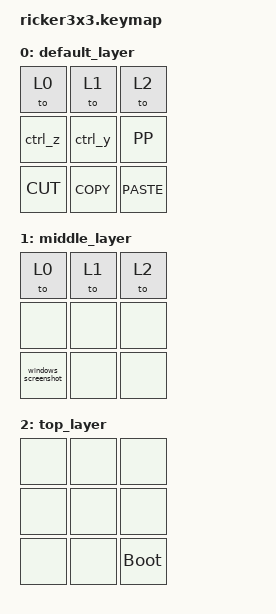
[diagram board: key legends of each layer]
#include <behaviors.dtsi>
#include <dt-bindings/zmk/keys.h>

/ {
    macros {
        windows_screenshot: windows_screenshot {
            label = "ZM_windows_screenshot";
            compatible = "zmk,behavior-macro";
            #binding-cells = <0>;
            bindings
                = <&macro_press &kp LSHFT>
                , <&macro_press &kp LGUI>
                , <&macro_press &kp S>
                , <&macro_release &kp LSHFT>
                , <&macro_release &kp LGUI>
                , <&macro_release &kp S>
                ;
        };

        ctrl_z: ctrl_z {
            label = "ZM_ctrl_z";
            compatible = "zmk,behavior-macro";
            #binding-cells = <0>;
            bindings
                = <&macro_press &kp LCTRL>
                , <&macro_tap &kp Z>
                , <&macro_release &kp LCTRL>
                ;
        };

        ctrl_y: ctrl_y {
            label = "ZM_ctrl_y";
            compatible = "zmk,behavior-macro";
            #binding-cells = <0>;
            bindings
                = <&macro_press &kp LCTRL>
                , <&macro_tap &kp Y>
                , <&macro_release &kp LCTRL>
                ;
        };
    };
};

/ {  
    keymap {
        compatible = "zmk,keymap";

        default_layer {
            bindings = <
                &to 0         &to 1         &to 2
                &ctrl_z       &ctrl_y       &kp K_PP
                &kp K_CUT     &kp K_COPY    &kp K_PASTE
            >;
        };

        middle_layer {
            bindings = <
                &to 0                  &to 1    &to 2
                &none                  &none    &none
                &windows_screenshot    &none    &none
            >;
        };

        top_layer {
            bindings = <
                &none    &none   &none
                &none    &none   &none
                &none    &none   &bootloader
            >;
        };
    };
};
